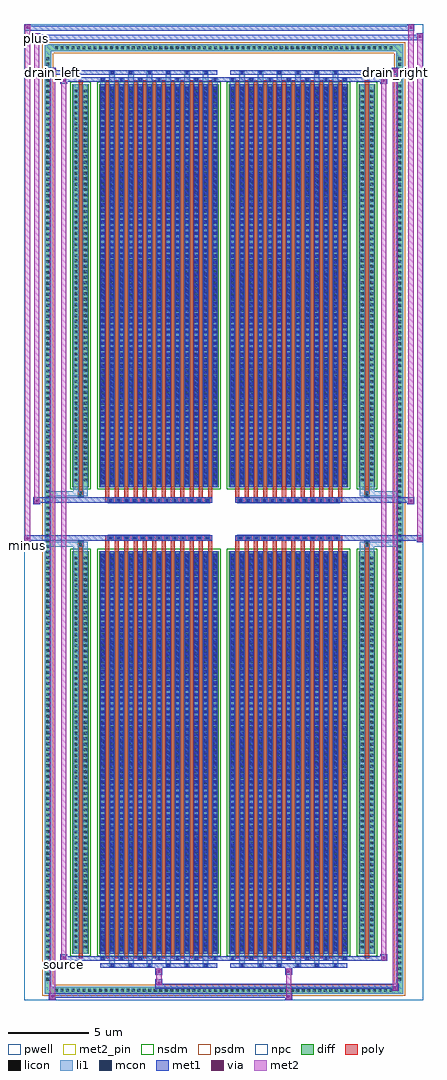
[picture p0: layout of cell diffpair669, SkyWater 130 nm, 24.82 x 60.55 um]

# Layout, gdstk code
import gdstk
lib = gdstk.Library(unit=1e-6, precision=5e-09)
def R(c, l, rs):  # rectangles x0, y0, x1, y1
    for r in rs: c.add(gdstk.rectangle(r[:2], r[2:], *l))
def A(c, l, x, y, w, h, nx, ny, dx, dy):  # array of equal rectangles
    R(c, l, [(x+i*dx, y+j*dy, x+i*dx+w, y+j*dy+h) for i in range(nx) for j in range(ny)])
def P(c, l, *ps):  # polygons
    for p in ps: c.add(gdstk.Polygon(p, *l))
pwell = (64, 44)
diff = (65, 20)
poly = (66, 20)
licon = (66, 44)
li1 = (67, 20)
mcon = (67, 44)
met1 = (68, 20)
via = (68, 44)
met2_pin = (69, 16)
met2 = (69, 20)
nsdm = (93, 44)
psdm = (94, 20)
npc = (95, 20)

diffpair669 = lib.new_cell('diffpair669')
R(diffpair669, pwell, [(-12.39,-29.84,12.39,30.71), (-9.71,-28.03,-0.01,-0.805), (0.01,-28.03,9.71,-0.805), (-9.71,0.805,-0.01,28.03), (0.01,0.805,9.71,28.03)])
A(diffpair669, diff, -10.575, -29.44, 0.41, 0.41, 62, 2, 0.34, 58.47)
A(diffpair669, diff, -11.12, -28.765, 0.41, 0.41, 1, 169, 0, 0.34)
A(diffpair669, diff, 10.71, -28.765, 0.41, 0.41, 1, 169, 0, 0.34)
R(diffpair669, diff, [(-10.575,-29.44,10.575,-29.03), (-11.12,-28.765,-10.71,28.765), (10.71,-28.765,11.12,28.765), (-9.4,-26.985,-8.37,-1.985), (-7.73,-26.985,-0.32,-1.985), (0.32,-26.985,7.73,-1.985), (8.37,-26.985,9.4,-1.985), (-9.4,1.985,-8.37,26.985), (-7.73,1.985,-0.32,26.985), (0.32,1.985,7.73,26.985), (8.37,1.985,9.4,26.985), (-10.575,29.03,10.575,29.44)])
P(diffpair669, diff, [(11.12,29.44),(-11.12,29.44),(-11.12,-29.03),(-10.71,-29.03),(-10.71,29.03),(10.71,29.03),(10.71,-29.03),(-10.71,-29.03),(-11.12,-29.03),(-11.12,-29.44),(11.12,-29.44)])
A(diffpair669, poly, -7.34, -27.235, 0.25, 25.5, 12, 2, 0.58, 28.97)
A(diffpair669, poly, 0.71, -27.235, 0.25, 25.5, 12, 2, 0.58, 28.97)
A(diffpair669, poly, -7.34, -1.735, 0.25, 0.4, 12, 2, 0.58, 3.07)
A(diffpair669, poly, 0.71, -1.735, 0.25, 0.4, 12, 2, 0.58, 3.07)
A(diffpair669, poly, -7.19, -1.335, 0.33, 0.33, 13, 2, 0.5, 2.34)
A(diffpair669, poly, 0.86, -1.335, 0.33, 0.33, 13, 2, 0.5, 2.34)
R(diffpair669, poly, [(-9.01,-27.235,-8.76,-1.735), (8.76,-27.235,9.01,-1.735), (-9.05,-1.735,-8.72,-1.405), (-9.05,-1.735,-8.72,-1.405), (8.72,-1.735,9.05,-1.405), (8.72,-1.735,9.05,-1.405), (-7.34,-1.335,-0.71,-1.005), (0.71,-1.335,7.34,-1.005), (-7.34,1.005,-0.71,1.335), (0.71,1.005,7.34,1.335), (-9.05,1.405,-8.72,1.735), (-9.05,1.405,-8.72,1.735), (8.72,1.405,9.05,1.735), (8.72,1.405,9.05,1.735), (-9.01,1.735,-8.76,27.235), (8.76,1.735,9.01,27.235)])
A(diffpair669, licon, -10.455, -29.32, 0.17, 0.17, 62, 2, 0.34, 58.47)
A(diffpair669, licon, -11, -28.645, 0.17, 0.17, 1, 169, 0, 0.34)
A(diffpair669, licon, 10.83, -28.645, 0.17, 0.17, 1, 169, 0, 0.34)
A(diffpair669, licon, -9.26, -26.64, 0.17, 0.17, 1, 72, 0, 0.34)
A(diffpair669, licon, -8.68, -26.64, 0.17, 0.17, 1, 72, 0, 0.34)
A(diffpair669, licon, -7.59, -26.64, 0.17, 0.17, 13, 72, 0.58, 0.34)
A(diffpair669, licon, 0.46, -26.64, 0.17, 0.17, 13, 72, 0.58, 0.34)
A(diffpair669, licon, 8.51, -26.64, 0.17, 0.17, 1, 72, 0, 0.34)
A(diffpair669, licon, 9.09, -26.64, 0.17, 0.17, 1, 72, 0, 0.34)
A(diffpair669, licon, -7.11, -1.255, 0.17, 0.17, 13, 2, 0.5, 2.34)
A(diffpair669, licon, 0.94, -1.255, 0.17, 0.17, 13, 2, 0.5, 2.34)
A(diffpair669, licon, -9.26, 2.33, 0.17, 0.17, 1, 72, 0, 0.34)
A(diffpair669, licon, -8.68, 2.33, 0.17, 0.17, 1, 72, 0, 0.34)
A(diffpair669, licon, -7.59, 2.33, 0.17, 0.17, 13, 72, 0.58, 0.34)
A(diffpair669, licon, 0.46, 2.33, 0.17, 0.17, 13, 72, 0.58, 0.34)
A(diffpair669, licon, 8.51, 2.33, 0.17, 0.17, 1, 72, 0, 0.34)
A(diffpair669, licon, 9.09, 2.33, 0.17, 0.17, 1, 72, 0, 0.34)
R(diffpair669, licon, [(-8.97,-1.655,-8.8,-1.485), (8.8,-1.655,8.97,-1.485), (-8.97,1.485,-8.8,1.655), (8.8,1.485,8.97,1.655)])
A(diffpair669, li1, -10.535, -29.4, 0.33, 0.33, 62, 2, 0.34, 58.47)
A(diffpair669, li1, -11.08, -28.725, 0.33, 0.33, 1, 169, 0, 0.34)
A(diffpair669, li1, 10.75, -28.725, 0.33, 0.33, 1, 169, 0, 0.34)
A(diffpair669, li1, -7.09, -27.79, 0.33, 0.805, 6, 2, 1.16, 54.775)
A(diffpair669, li1, -7.01, -27.79, 0.17, 0.17, 6, 2, 1.16, 55.41)
A(diffpair669, li1, 0.96, -27.79, 0.33, 0.805, 6, 2, 1.16, 54.775)
A(diffpair669, li1, 1.04, -27.79, 0.17, 0.17, 6, 2, 1.16, 55.41)
A(diffpair669, li1, -7.67, -27.36, 0.33, 0.375, 7, 2, 1.16, 54.345)
A(diffpair669, li1, -7.59, -27.36, 0.17, 0.17, 7, 2, 1.16, 54.55)
A(diffpair669, li1, 0.38, -27.36, 0.33, 0.375, 7, 2, 1.16, 54.345)
A(diffpair669, li1, 0.46, -27.36, 0.17, 0.17, 7, 2, 1.16, 54.55)
A(diffpair669, li1, -7.67, -26.985, 0.33, 25, 13, 2, 0.58, 28.97)
A(diffpair669, li1, 0.38, -26.985, 0.33, 25, 13, 2, 0.58, 28.97)
A(diffpair669, li1, -7.59, -26.81, 0.17, 0.17, 13, 69, 0.58, 0.36)
A(diffpair669, li1, -7.59, -26.81, 0.17, 24.65, 13, 2, 0.58, 28.97)
A(diffpair669, li1, 0.46, -26.81, 0.17, 0.17, 13, 69, 0.58, 0.36)
A(diffpair669, li1, 0.46, -26.81, 0.17, 24.65, 13, 2, 0.58, 28.97)
A(diffpair669, li1, -9.34, -26.72, 0.33, 0.33, 1, 72, 0, 0.34)
A(diffpair669, li1, -8.76, -26.72, 0.33, 0.33, 1, 72, 0, 0.34)
A(diffpair669, li1, -7.67, -26.72, 0.33, 0.33, 13, 72, 0.58, 0.34)
A(diffpair669, li1, 0.38, -26.72, 0.33, 0.33, 13, 72, 0.58, 0.34)
A(diffpair669, li1, 8.43, -26.72, 0.33, 0.33, 1, 72, 0, 0.34)
A(diffpair669, li1, 9.01, -26.72, 0.33, 0.33, 1, 72, 0, 0.34)
A(diffpair669, li1, -7.19, -1.335, 0.33, 0.33, 13, 2, 0.5, 2.34)
A(diffpair669, li1, 0.86, -1.335, 0.33, 0.33, 13, 2, 0.5, 2.34)
A(diffpair669, li1, -7.59, 2.16, 0.17, 0.17, 13, 69, 0.58, 0.36)
A(diffpair669, li1, 0.46, 2.16, 0.17, 0.17, 13, 69, 0.58, 0.36)
A(diffpair669, li1, -9.34, 2.25, 0.33, 0.33, 1, 72, 0, 0.34)
A(diffpair669, li1, -8.76, 2.25, 0.33, 0.33, 1, 72, 0, 0.34)
A(diffpair669, li1, -7.67, 2.25, 0.33, 0.33, 13, 72, 0.58, 0.34)
A(diffpair669, li1, 0.38, 2.25, 0.33, 0.33, 13, 72, 0.58, 0.34)
A(diffpair669, li1, 8.43, 2.25, 0.33, 0.33, 1, 72, 0, 0.34)
A(diffpair669, li1, 9.01, 2.25, 0.33, 0.33, 1, 72, 0, 0.34)
R(diffpair669, li1, [(-11.12,-29.44,-10.71,-29.03), (-11.12,-29.44,-10.71,-29.03), (-10.71,-29.44,10.71,-29.03), (10.71,-29.44,11.12,-29.03), (10.71,-29.44,11.12,-29.03), (-11.12,-29.03,-10.71,29.03), (10.71,-29.03,11.12,29.03), (-9.34,-26.985,-9.01,-1.985), (-8.76,-26.985,-8.43,-1.985), (8.43,-26.985,8.76,-1.985), (9.01,-26.985,9.34,-1.985), (-9.34,-1.985,-9.01,-1.405), (-8.76,-1.985,-8.43,-1.405), (8.43,-1.985,8.76,-1.405), (9.01,-1.985,9.34,-1.405), (-11.12,-1.735,-9.05,-1.405), (-9.34,-1.735,-9.05,-1.405), (-9.05,-1.735,-8.72,-1.405), (-8.72,-1.735,-8.43,-1.405), (8.43,-1.735,8.72,-1.405), (8.72,-1.735,9.05,-1.405), (8.72,-1.735,11.12,-1.405), (9.05,-1.735,9.34,-1.405), (-11.12,1.405,-9.05,1.735), (-9.34,1.405,-9.05,1.735), (-9.34,1.405,-9.01,1.985), (-9.05,1.405,-8.72,1.735), (-8.76,1.405,-8.43,1.985), (-8.72,1.405,-8.43,1.735), (8.43,1.405,8.72,1.735), (8.43,1.405,8.76,1.985), (8.72,1.405,9.05,1.735), (8.72,1.405,11.12,1.735), (9.01,1.405,9.34,1.985), (9.05,1.405,9.34,1.735), (-9.34,1.985,-9.01,26.985), (-8.76,1.985,-8.43,26.985), (8.43,1.985,8.76,26.985), (9.01,1.985,9.34,26.985), (-11.12,29.03,-10.71,29.44), (-11.12,29.03,-10.71,29.44), (-10.71,29.03,10.71,29.44), (10.71,29.03,11.12,29.44), (10.71,29.03,11.12,29.44)])
A(diffpair669, mcon, -7.01, -27.79, 0.17, 0.17, 6, 2, 1.16, 55.41)
A(diffpair669, mcon, 1.04, -27.79, 0.17, 0.17, 6, 2, 1.16, 55.41)
A(diffpair669, mcon, -7.59, -27.36, 0.17, 0.17, 7, 2, 1.16, 54.55)
A(diffpair669, mcon, 0.46, -27.36, 0.17, 0.17, 7, 2, 1.16, 54.55)
A(diffpair669, mcon, -7.59, -26.81, 0.17, 0.17, 13, 69, 0.58, 0.36)
A(diffpair669, mcon, 0.46, -26.81, 0.17, 0.17, 13, 69, 0.58, 0.36)
A(diffpair669, mcon, -7.11, -1.255, 0.17, 0.17, 13, 2, 0.5, 2.34)
A(diffpair669, mcon, 0.94, -1.255, 0.17, 0.17, 13, 2, 0.5, 2.34)
A(diffpair669, mcon, -7.59, 2.16, 0.17, 0.17, 13, 69, 0.58, 0.36)
A(diffpair669, mcon, 0.46, 2.16, 0.17, 0.17, 13, 69, 0.58, 0.36)
A(diffpair669, met1, -7.07, -27.85, 0.29, 0.29, 6, 2, 1.16, 55.41)
A(diffpair669, met1, 0.98, -27.85, 0.29, 0.29, 6, 2, 1.16, 55.41)
A(diffpair669, met1, -7.65, -27.42, 0.29, 0.29, 7, 2, 1.16, 54.55)
A(diffpair669, met1, 0.4, -27.42, 0.29, 0.29, 7, 2, 1.16, 54.55)
A(diffpair669, met1, -7.65, -26.985, 0.29, 25, 13, 2, 0.58, 28.97)
A(diffpair669, met1, 0.4, -26.985, 0.29, 25, 13, 2, 0.58, 28.97)
A(diffpair669, met1, -7.65, -26.87, 0.29, 0.29, 13, 69, 0.58, 0.36)
A(diffpair669, met1, 0.4, -26.87, 0.29, 0.29, 13, 69, 0.58, 0.36)
A(diffpair669, met1, -7.17, -1.315, 0.29, 0.29, 13, 2, 0.5, 2.34)
A(diffpair669, met1, 0.88, -1.315, 0.29, 0.29, 13, 2, 0.5, 2.34)
A(diffpair669, met1, -7.65, 2.1, 0.29, 0.29, 13, 69, 0.58, 0.36)
A(diffpair669, met1, 0.4, 2.1, 0.29, 0.29, 13, 69, 0.58, 0.36)
R(diffpair669, met1, [(-10.85,-29.84,-10.42,-29.41), (3.81,-29.84,4.24,-29.41), (-10.85,-29.7,4.24,-29.41), (10.42,-29.27,10.85,-28.84), (-4.24,-29.13,10.85,-28.84), (-4.24,-28.99,-3.81,-28.56), (-4.24,-28.28,-3.81,-27.85), (3.81,-28.28,4.24,-27.85), (-7.65,-27.85,-0.4,-27.56), (0.4,-27.85,7.65,-27.56), (-10.14,-27.42,-9.71,-26.99), (-10.14,-27.42,-7.65,-27.13), (-7.65,-27.42,-0.4,-27.13), (-0.4,-27.42,0.4,-27.13), (0.4,-27.42,7.65,-27.13), (7.65,-27.42,10.14,-27.13), (9.71,-27.42,10.14,-26.99), (-12.39,-1.435,-11.96,-1.005), (11.96,-1.435,12.39,-1.005), (-12.39,-1.335,-0.71,-1.005), (-7.34,-1.335,-0.71,-1.005), (0.71,-1.335,7.34,-1.005), (0.71,-1.335,12.39,-1.005), (-11.82,0.905,-11.39,1.335), (11.39,0.905,11.82,1.335), (-11.82,1.005,-7.34,1.335), (-7.34,1.005,-0.71,1.335), (0.71,1.005,7.34,1.335), (7.34,1.005,11.82,1.335), (-10.14,26.99,-9.71,27.42), (9.71,26.99,10.14,27.42), (-10.14,27.13,-7.65,27.42), (-7.65,27.13,-0.4,27.42), (-0.4,27.13,0.4,27.42), (0.4,27.13,7.65,27.42), (7.65,27.13,10.14,27.42), (-10.85,27.56,-10.42,27.99), (-10.85,27.56,-7.65,27.85), (-7.65,27.56,-0.4,27.85), (0.4,27.56,7.65,27.85), (7.65,27.56,10.85,27.85), (10.42,27.56,10.85,27.99), (-11.82,29.71,-11.39,30.14), (-11.82,29.71,-9.71,30.04), (-9.71,29.71,9.71,30.04), (9.71,29.71,12.39,30.04), (11.96,29.71,12.39,30.14), (-12.39,30.28,-11.96,30.71), (-12.39,30.28,-9.71,30.61), (-9.71,30.28,9.71,30.61), (9.71,30.28,11.82,30.61), (11.39,30.28,11.82,30.71)])
R(diffpair669, via, [(-10.71,-29.7,-10.56,-29.55), (3.95,-29.7,4.1,-29.55), (10.56,-29.13,10.71,-28.98), (-4.1,-28.85,-3.95,-28.7), (-4.1,-28.14,-3.95,-27.99), (3.95,-28.14,4.1,-27.99), (-10,-27.28,-9.85,-27.13), (9.85,-27.28,10,-27.13), (-12.25,-1.295,-12.1,-1.145), (12.1,-1.295,12.25,-1.145), (-11.68,1.045,-11.53,1.195), (11.53,1.045,11.68,1.195), (-10,27.13,-9.85,27.28), (9.85,27.13,10,27.28), (-10.71,27.7,-10.56,27.85), (10.56,27.7,10.71,27.85), (-11.68,29.85,-11.53,30), (12.1,29.85,12.25,30), (-12.25,30.42,-12.1,30.57), (11.53,30.42,11.68,30.57)])
R(diffpair669, met2_pin, [(-10.175,-27.87,-9.675,-27.37), (-12.425,-1.885,-11.925,-1.385), (-10.885,27.44,-10.385,27.94), (10.385,27.44,10.885,27.94), (-11.855,29.59,-11.355,30.09)])
R(diffpair669, met2, [(-10.8,-29.79,-10.47,-29.46), (-10.8,-29.79,-10.47,27.94), (3.86,-29.79,4.19,-29.46), (3.86,-29.46,4.19,-28.23), (10.47,-29.22,10.8,-28.89), (10.47,-29.22,10.8,27.94), (-4.19,-28.94,-3.86,-28.61), (-4.19,-28.61,-3.86,-28.23), (-4.19,-28.23,-3.86,-27.9), (3.86,-28.23,4.19,-27.9), (-10.09,-27.37,-9.76,-27.04), (-10.09,-27.37,-9.76,27.37), (9.76,-27.37,10.09,-27.04), (9.76,-27.37,10.09,27.37), (-12.34,-1.385,-12.01,-1.055), (-12.34,-1.385,-12.01,30.66), (12.01,-1.385,12.34,-1.055), (12.01,-1.385,12.34,30.09), (-11.77,0.955,-11.44,1.285), (-11.77,0.955,-11.44,30.09), (11.44,0.955,11.77,1.285), (11.44,0.955,11.77,30.66), (-10.09,27.04,-9.76,27.37), (9.76,27.04,10.09,27.37), (-10.8,27.61,-10.47,27.94), (10.47,27.61,10.8,27.94), (-11.77,29.76,-11.44,30.09), (12.01,29.76,12.34,30.09), (-12.34,30.33,-12.01,30.66), (11.44,30.33,11.77,30.66)])
P(diffpair669, met2, [(12.34,-1.385),(12.34,-1.385),(12.34,-1.055),(12.34,-1.055)],
  [(12.34,29.76),(12.34,29.76),(12.34,30.09),(12.34,30.09)],
  [(-12.01,-1.385),(-12.01,-1.385),(-12.01,-1.055),(-12.01,-1.055)],
  [(-12.01,30.33),(-12.01,30.33),(-12.01,30.66),(-12.01,30.66)],
  [(11.77,0.955),(11.77,0.955),(11.77,1.285),(11.77,1.285)],
  [(11.77,30.33),(11.77,30.33),(11.77,30.66),(11.77,30.66)],
  [(-11.44,0.955),(-11.44,0.955),(-11.44,1.285),(-11.44,1.285)],
  [(-11.44,29.76),(-11.44,29.76),(-11.44,30.09),(-11.44,30.09)],
  [(-10.47,-29.79),(-10.47,-29.79),(-10.47,-29.46),(-10.47,-29.46)],
  [(-10.47,27.61),(-10.47,27.61),(-10.47,27.94),(-10.47,27.94)],
  [(10.8,-29.22),(10.8,-29.22),(10.8,-28.89),(10.8,-28.89)],
  [(10.8,27.61),(10.8,27.61),(10.8,27.94),(10.8,27.94)],
  [(-9.76,-27.37),(-9.76,-27.37),(-9.76,-27.04),(-9.76,-27.04)],
  [(-9.76,27.04),(-9.76,27.04),(-9.76,27.37),(-9.76,27.37)],
  [(10.09,-27.37),(10.09,-27.37),(10.09,-27.04),(10.09,-27.04)],
  [(10.09,27.04),(10.09,27.04),(10.09,27.37),(10.09,27.37)])
R(diffpair669, nsdm, [(-9.53,-27.115,-8.24,-1.855), (-7.86,-27.115,-0.19,-1.855), (0.19,-27.115,7.86,-1.855), (8.24,-27.115,9.53,-1.855), (-9.53,1.855,-8.24,27.115), (-7.86,1.855,-0.19,27.115), (0.19,1.855,7.86,27.115), (8.24,1.855,9.53,27.115)])
P(diffpair669, psdm, [(11.25,29.57),(-11.25,29.57),(-11.25,-28.9),(-10.58,-28.9),(-10.58,28.9),(10.58,28.9),(10.58,-28.9),(-10.58,-28.9),(-11.25,-28.9),(-11.25,-29.57),(11.25,-29.57)])
A(diffpair669, npc, -7.21, -1.355, 0.37, 0.37, 13, 2, 0.5, 2.34)
A(diffpair669, npc, 0.84, -1.355, 0.37, 0.37, 13, 2, 0.5, 2.34)
R(diffpair669, npc, [(-9.07,-1.755,-8.7,-1.385), (8.7,-1.755,9.07,-1.385), (-7.21,-1.355,-6.34,-0.985), (-7.21,-1.355,-6.34,-0.985), (-6.71,-1.355,-5.84,-0.985), (-6.71,-1.355,-5.84,-0.985), (-6.21,-1.355,-5.34,-0.985), (-6.21,-1.355,-5.34,-0.985), (-5.71,-1.355,-4.84,-0.985), (-5.71,-1.355,-4.84,-0.985), (-5.21,-1.355,-4.34,-0.985), (-5.21,-1.355,-4.34,-0.985), (-4.71,-1.355,-3.84,-0.985), (-4.71,-1.355,-3.84,-0.985), (-4.21,-1.355,-3.34,-0.985), (-4.21,-1.355,-3.34,-0.985), (-3.71,-1.355,-2.84,-0.985), (-3.71,-1.355,-2.84,-0.985), (-3.21,-1.355,-2.34,-0.985), (-3.21,-1.355,-2.34,-0.985), (-2.71,-1.355,-1.84,-0.985), (-2.71,-1.355,-1.84,-0.985), (-2.21,-1.355,-1.34,-0.985), (-2.21,-1.355,-1.34,-0.985), (-1.71,-1.355,-0.84,-0.985), (-1.71,-1.355,-0.84,-0.985), (0.84,-1.355,1.71,-0.985), (0.84,-1.355,1.71,-0.985), (1.34,-1.355,2.21,-0.985), (1.34,-1.355,2.21,-0.985), (1.84,-1.355,2.71,-0.985), (1.84,-1.355,2.71,-0.985), (2.34,-1.355,3.21,-0.985), (2.34,-1.355,3.21,-0.985), (2.84,-1.355,3.71,-0.985), (2.84,-1.355,3.71,-0.985), (3.34,-1.355,4.21,-0.985), (3.34,-1.355,4.21,-0.985), (3.84,-1.355,4.71,-0.985), (3.84,-1.355,4.71,-0.985), (4.34,-1.355,5.21,-0.985), (4.34,-1.355,5.21,-0.985), (4.84,-1.355,5.71,-0.985), (4.84,-1.355,5.71,-0.985), (5.34,-1.355,6.21,-0.985), (5.34,-1.355,6.21,-0.985), (5.84,-1.355,6.71,-0.985), (5.84,-1.355,6.71,-0.985), (6.34,-1.355,7.21,-0.985), (6.34,-1.355,7.21,-0.985), (-7.21,0.985,-6.34,1.355), (-7.21,0.985,-6.34,1.355), (-6.71,0.985,-5.84,1.355), (-6.71,0.985,-5.84,1.355), (-6.21,0.985,-5.34,1.355), (-6.21,0.985,-5.34,1.355), (-5.71,0.985,-4.84,1.355), (-5.71,0.985,-4.84,1.355), (-5.21,0.985,-4.34,1.355), (-5.21,0.985,-4.34,1.355), (-4.71,0.985,-3.84,1.355), (-4.71,0.985,-3.84,1.355), (-4.21,0.985,-3.34,1.355), (-4.21,0.985,-3.34,1.355), (-3.71,0.985,-2.84,1.355), (-3.71,0.985,-2.84,1.355), (-3.21,0.985,-2.34,1.355), (-3.21,0.985,-2.34,1.355), (-2.71,0.985,-1.84,1.355), (-2.71,0.985,-1.84,1.355), (-2.21,0.985,-1.34,1.355), (-2.21,0.985,-1.34,1.355), (-1.71,0.985,-0.84,1.355), (-1.71,0.985,-0.84,1.355), (0.84,0.985,1.71,1.355), (0.84,0.985,1.71,1.355), (1.34,0.985,2.21,1.355), (1.34,0.985,2.21,1.355), (1.84,0.985,2.71,1.355), (1.84,0.985,2.71,1.355), (2.34,0.985,3.21,1.355), (2.34,0.985,3.21,1.355), (2.84,0.985,3.71,1.355), (2.84,0.985,3.71,1.355), (3.34,0.985,4.21,1.355), (3.34,0.985,4.21,1.355), (3.84,0.985,4.71,1.355), (3.84,0.985,4.71,1.355), (4.34,0.985,5.21,1.355), (4.34,0.985,5.21,1.355), (4.84,0.985,5.71,1.355), (4.84,0.985,5.71,1.355), (5.34,0.985,6.21,1.355), (5.34,0.985,6.21,1.355), (5.84,0.985,6.71,1.355), (5.84,0.985,6.71,1.355), (6.34,0.985,7.21,1.355), (6.34,0.985,7.21,1.355), (-9.07,1.385,-8.7,1.755), (8.7,1.385,9.07,1.755)])
diffpair669.add(gdstk.Label('minus', (-12.175,-1.635), layer=69, texttype=5))
diffpair669.add(gdstk.Label('drain_right', (10.635,27.69), layer=69, texttype=5))
diffpair669.add(gdstk.Label('drain_left', (-10.635,27.69), layer=69, texttype=5))
diffpair669.add(gdstk.Label('source', (-9.925,-27.62), layer=69, texttype=5))
diffpair669.add(gdstk.Label('plus', (-11.605,29.84), layer=69, texttype=5))

lib.write_gds('diffpair669.gds')
